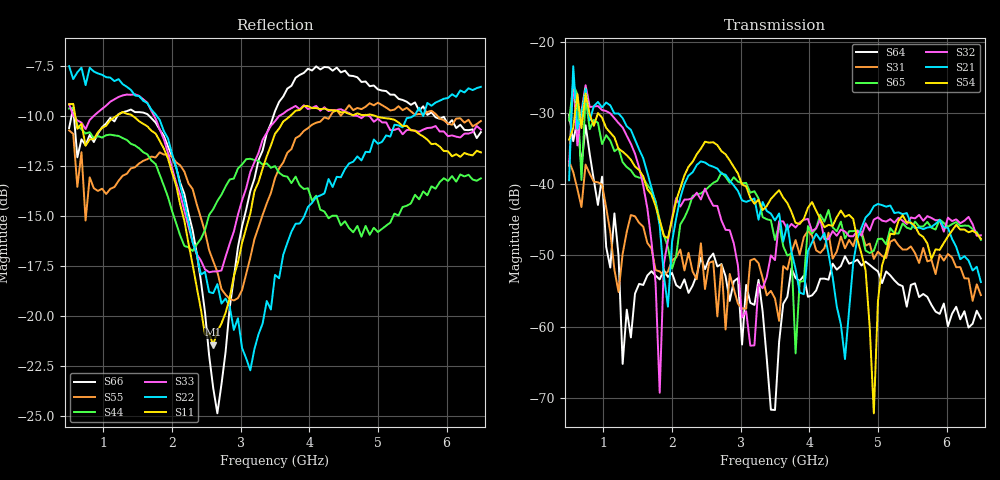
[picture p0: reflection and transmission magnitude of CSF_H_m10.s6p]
!Keysight Technologies,M9804A,MY58100912,A.14.10.03
!Date: Thursday, April 27, 2023 10:28:33
!Correction: S11(C  6-Port  )
!S12(C  6-Port  )
!S13(C  6-Port  )
!S14(C  6-Port  )
!S15(C  6-Port  )
!S16(C  6-Port  )
!S21(C  6-Port  )
!S22(C  6-Port  )
!S23(C  6-Port  )
!S24(C  6-Port  )
!S25(C  6-Port  )
!S26(C  6-Port  )
!S31(C  6-Port  )
!S32(C  6-Port  )
!S33(C  6-Port  )
!S34(C  6-Port  )
!S35(C  6-Port  )
!S36(C  6-Port  )
!S41(C  6-Port  )
!S42(C  6-Port  )
!S43(C  6-Port  )
!S44(C  6-Port  )
!S45(C  6-Port  )
!S46(C  6-Port  )
!S51(C  6-Port  )
!S52(C  6-Port  )
!S53(C  6-Port  )
!S54(C  6-Port  )
!S55(C  6-Port  )
!S56(C  6-Port  )
!S61(C  6-Port  )
!S62(C  6-Port  )
!S63(C  6-Port  )
!S64(C  6-Port  )
!S65(C  6-Port  )
!S66(C  6-Port  )
!S6P File: Measurement: :
# Hz S  RI  R 50
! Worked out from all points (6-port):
!   101 points, 500 MHz to 6.5 GHz, reference 50 ohm
!   strongest paths, dB at 500 MHz, 2 GHz, 3.5 GHz, 5 GHz, 6.5 GHz:
!     S54: -33.8, -45.0, -41.4, -56.4, -47.7
!     S21: -39.5, -48.1, -45.1, -42.8, -53.7
!     S32: -37.4, -44.7, -50.7, -44.7, -47.2
!     S65: -31.1, -51.9, -47.8, -47.7, -47.8
!     S31: -36.8, -50.7, -56.0, -49.5, -55.6
!     S64: -30.3, -52.5, -71.7, -52.3, -58.9
!   lowest |S11| = -21.4 dB at 2.6 GHz (marker M1), VSWR 1.19, Z = 42.4 + j2.14 ohm
!   |S11| at or under -10 dB: 590.3 MHz to 1.178 GHz (587.4 MHz wide, 66.4 % of centre); 1.438 GHz to 3.713 GHz (2.275 GHz wide, 88.3 % of centre); 4.98 GHz to end of sweep
